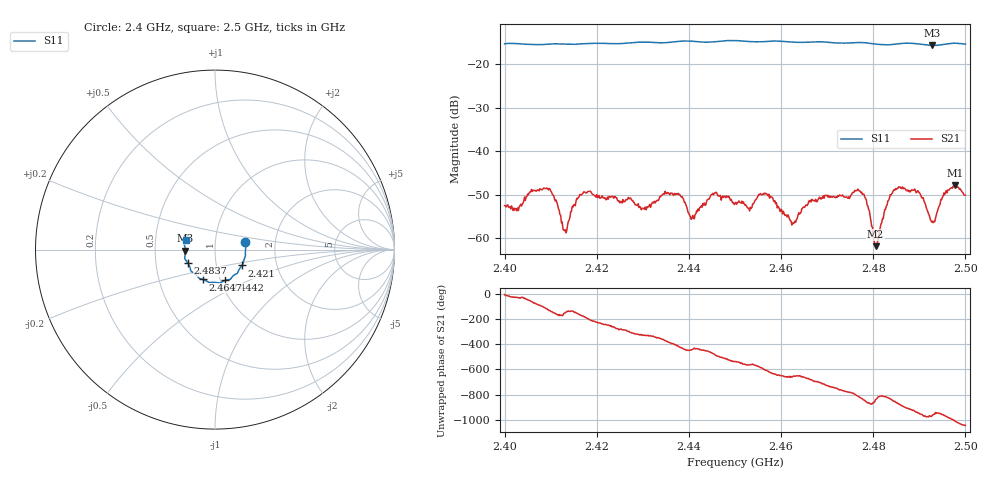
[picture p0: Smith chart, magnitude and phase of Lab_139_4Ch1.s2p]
# Hz S RI R 50
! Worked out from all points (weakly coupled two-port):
!   601 points, 2.4 GHz to 2.5 GHz, reference 50 ohm
!   highest |S21| = -47.84 dB at 2.4978 GHz (marker M1); lowest = -61.8 dB at 2.4805 GHz (marker M2)
!   lowest |S11| = -15.6 dB at 2.4928 GHz (marker M3), VSWR 1.40, Z = 35.8 - j0.381 ohm
!   |S11| at or under -10 dB: start of sweep to end of sweep
!   S12 and S22 are empty: the file has one direction only
!   S11 on the Smith chart (normalised r, x): 2.4 GHz: 1.40, +0.12; 2.421 GHz: 1.33, -0.24; 2.4442 GHz: 1.05, -0.37; 2.4647 GHz: 0.83, -0.29; 2.4837 GHz: 0.73, -0.11; 2.5 GHz: 0.72, +0.08
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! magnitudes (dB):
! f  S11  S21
! 2.4 GHz  -15.2  -52.5
! 2.4093 GHz  -15.3  -48.5
! 2.4132 GHz  -15.3  -58.1
! 2.4167 GHz  -15.2  -50.0
! 2.421 GHz  -15.1  -50.6
! 2.4333 GHz  -15.0  -51.4
! 2.4377 GHz  -14.7  -49.7
! 2.4407 GHz  -14.6  -55.4
! 2.4442 GHz  -14.9  -51.0
! 2.45 GHz  -14.5  -52.0
! 2.4568 GHz  -14.7  -49.8
! 2.4627 GHz  -14.9  -56.6
! 2.4647 GHz  -14.9  -53.1
! 2.4667 GHz  -14.8  -51.1
! 2.477 GHz  -14.9  -49.1
! 2.4805 GHz  -15.3  -61.8
! 2.4833 GHz  -15.5  -51.3
! 2.4837 GHz  -15.4  -50.0
! 2.4895 GHz  -15.2  -49.3
! 2.4928 GHz  -15.6  -56.1
! 2.4978 GHz  -15.1  -47.8
! 2.5 GHz  -15.3  -50.1
